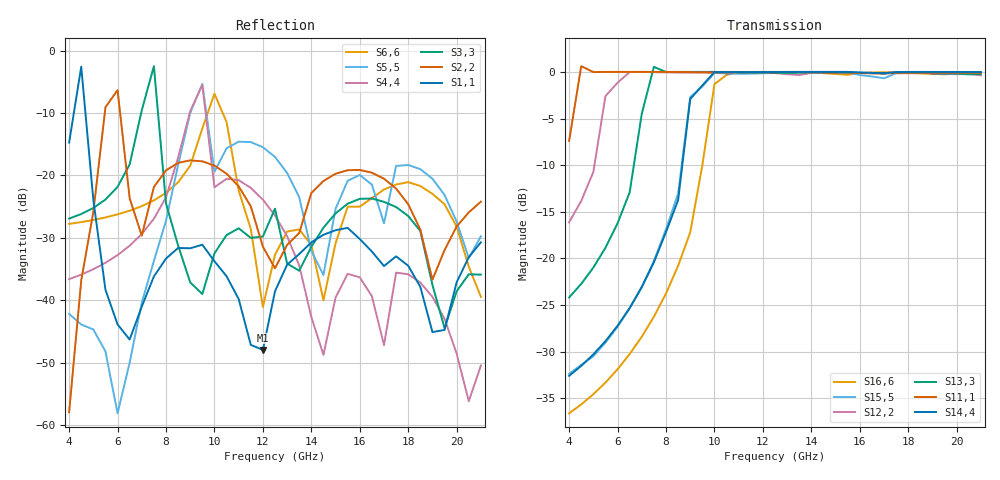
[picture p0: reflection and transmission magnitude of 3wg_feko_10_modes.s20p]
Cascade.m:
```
clear;
tic;

% M = 10; % Number of elements in between the first and last waveguide

% r = linspace(0.02, 0.03, 10);

L = 0.02; % Length of each waveguide section

F = 4e9:0.5e9:21e9; % Frequency of operation

% F = linspace(4e9, 21e9, 200);

rt = 0.0405319403216/1.9;
rp = 0.0405319403216/2; % radius of the waveguide
rr = 0.0405319403216/2.1;
% rd = 2.2e-2;

r = [rr rp rt];

%% Inner Cross Product of First junction (smaller dimension)

% Nr = 1:1:5; % number of modes on R waveguide
% Np = 1:1:5; % number of modes on P waveguide

N1 = 1:1:20; % number of modes on 1st waveguide
N2 = 1:1:20; % number of modes on 2nd waveguide

erp = 1;
err = 1;
murp = 1;
murr = 1;

% [X_til_rp] = Inner_p(Nr, Np, rp, rr, erp, murp, err, murr);
[X_til_rp] = Inner_p2(N1, N2, r(2), r(1), erp, murp, err, murr);

%% Inner Cross Product of Last junction (larger dimension)


% Np = 1:1:30; % number of modes on R waveguide
% Nt = 1:1:30; % number of modes on P waveguide

Ns = 1:1:20; % number of modes on last but one waveguide
Ne = 1:1:20; % number of modes on last waveguide

ert = 1;
erp = 1;
murt = 1;
murp = 1;

% [X_til_pt] = Inner_p(Np, Nt, rt, rp, ert, murt, erp, murp);

[X_til_pt] = Inner_p2(Ns, Ne, r(end), r(end - 1), ert, murt, erp, murp);

%% Frequency dependent terms:
parfor k = 1:length(F)

disp('Iteration: ');
disp(k);

% [S33, S34, S43, S44] = GSM(Nr, Np, F(k), rp, rr, erp, murp, err, murr, X_til_rp);
% [S11, S12, S21, S22] = GSM(Np, Nt, F(k), rt, rp, erp, murp, err, murr, X_til_pt);


[S33, S34, S43, S44] = GSM_V2(N1, N2, F(k), r(2), r(1), erp, murp, err, murr, X_til_rp);
[S11, S12, S21, S22] = GSM_V2(Ns, Ne, F(k), r(end), r(end - 1), erp, murp, err, murr, X_til_pt);

Sl = eye(length(N2), length(N2));

for i = 2:length(r)-1

    Sl = Sl * SL(r(i), F(k), Ns, L);

    disp('Inner element Iteration');
    disp(i - 1);

end

%   Sl = Sl * SL(rp, F(k), Np, L);
%  [Slr] = SL(rr, F(k), N1, 0.001);
%  [Slt] = SL(rt, F(k), Ne, 0.001);
 
 [Slr] = SL(r(1), F(k), N1, 0.001);
 [Slt] = SL(r(end), F(k), Ne, 0.001);
 
% Sl = Slr * Slp * Slt;

% I = eye(length(Np), length(Np));

I = eye(length(N2), length(N2));

U1 = inv(I - S22 * Sl * S33 * Sl);
U2 = inv(I - S33 * Sl * S22 * Sl);

STT(k, :, :) = Slt * (S11 + S12 * Sl * U2 * S33 * Sl * S21) * Slt.';
STR(k, :, :) = Slt * (S12 * Sl * U2 * S34) * Slr;
SRT(k, :, :) = Slr * (S43 * Sl * U1 * S21) * Slt;
SRR(k, :, :) = Slr * (S44 + S43 * Sl * U1 * S22 * Sl * S34) * Slr;


% STT(k, :, :) = (S11 + S12 * Sl * U2 * S33 * Sl * S21);
% STR(k, :, :) = (S12 * Sl * U2 * S34);
% SRT(k, :, :) = (S43 * Sl * U1 * S21);
% SRR(k, :, :) = (S44 + S43 * Sl * U1 * S22 * Sl * S34);

end
%% Plots

% 
% save('Stt3_ratio_1_modes_20_1mm', 'STT');
% save('Str3_ratio_1_modes_20_1mm', 'STR');
% save('Srt3_ratio_1_modes_20_1mm', 'SRT');
% save('Srr3_ratio_1_modes_20_1mm', 'SRR');

F_cst = linspace(4e9, 21e9, 1001);
% data5_cst = read(rfdata.data,'../../Thesis/Bessel/Thesis_circ_step/Cascade/3wg_V1.s39p');

data5_cst = read(rfdata.data,'3wg_V1.s39p');

s_params_5_cst = extract(data5_cst,'S_PARAMETERS');


data5_feko = read(rfdata.data,'3wg_feko_10_modes.s20p');
s_params_5_feko = extract(data5_feko,'S_PARAMETERS');

figure;

plot(F * 1e-9, db(abs(squeeze(SRR(:, 1, 1)))), 'LineWidth', 2); grid on;
hold on;
plot(F_cst * 1e-9, db(abs(squeeze(s_params_5_cst(21, 21, :)))), 'LineWidth', 2); grid on;
hold on;
plot(F * 1e-9, db(abs(squeeze(s_params_5_feko(1, 1, :)))), 'LineWidth', 2); grid on;


xlim([5 21]);


figure;

plot(F * 1e-9, angle((squeeze(SRR(:, 1, 1)))) * 180/pi, 'LineWidth', 2); grid on;
hold on;
plot(F_cst * 1e-9, angle((squeeze(s_params_5_cst(21, 21, :)))) * 180/pi, 'LineWidth', 2); grid on;
hold on;
plot(F * 1e-9, angle((squeeze(s_params_5_feko(1, 1, :)))) * 180/pi, 'LineWidth', 2); grid on;


xlim([5 21]);

wg3_time = toc;
```
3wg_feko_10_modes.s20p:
! S-parameter export from POSTFEKO
! Filename: circular_3wg_5modes
! Creation date: 2020-02-27 14:06:16
# Hz S MA R  5.0000000E+01
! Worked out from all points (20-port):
!   35 points, 4 GHz to 21 GHz, reference 50 ohm
!   strongest paths, dB at 4 GHz, 8 GHz, 12.5 GHz, 17 GHz, 21 GHz:
!     S14,4: -32.6, -17.2, 0.0, -0.2, 0.0
!     S11,1: -7.4, 0.0, 0.0, -0.2, -0.1
!     S13,3: -24.2, 0.0, -0.1, -0.1, -0.2
!     S12,2: -16.1, -0.1, -0.1, -0.1, -0.4
!     S15,5: -32.4, -16.9, -0.1, -0.7, -0.1
!     S16,6: -36.6, -23.8, 0.0, 0.0, -0.1
!   lowest |S11| = -48.0 dB at 12 GHz (marker M1), VSWR 1.01, Z = 50 + j0.399 ohm
!   |S11| at or under -10 dB: start of sweep to 4.195 GHz; 4.674 GHz to end of sweep
